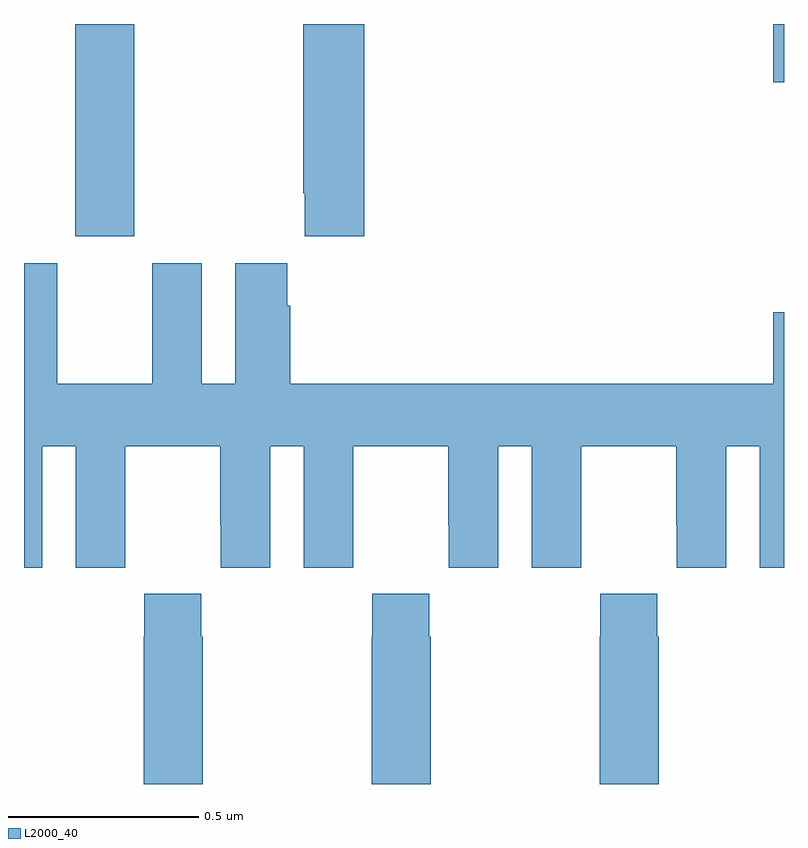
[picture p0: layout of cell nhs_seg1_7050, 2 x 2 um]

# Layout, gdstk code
import gdstk
lib = gdstk.Library(unit=1e-6, precision=1e-09)
def R(c, l, rs):  # rectangles x0, y0, x1, y1
    for r in rs: c.add(gdstk.rectangle(r[:2], r[2:], *l))
def P(c, l, *ps):  # polygons
    for p in ps: c.add(gdstk.Polygon(p, *l))
L2000_40 = (2000, 40)

nhs_seg1_7050 = lib.new_cell('nhs_seg1_7050')
R(nhs_seg1_7050, L2000_40, [(199.135,529.641,199.29,530.199), (200.972,530.046,201,530.199)])
P(nhs_seg1_7050, L2000_40, [(199.895,530.199),(199.735,530.199),(199.735,529.753),(199.739,529.753),(199.739,529.641),(199.895,529.641)],
  [(199.048,529.088),(199.136,529.088),(199.136,528.768),(199.266,528.768),(199.266,528.88),(199.267,528.88),(199.267,529.088),(199.517,529.088),(199.517,528.88),(199.518,528.88),(199.518,528.768),(199.648,528.768),(199.648,529.088),(199.736,529.088),(199.736,528.768),(199.866,528.768),(199.866,528.88),(199.867,528.88),(199.867,529.088),(200.117,529.088),(200.117,528.88),(200.118,528.88),(200.118,528.768),(200.248,528.768),(200.248,529.088),(200.336,529.088),(200.336,528.768),(200.466,528.768),(200.466,528.88),(200.467,528.88),(200.467,529.088),(200.717,529.088),(200.717,528.88),(200.718,528.88),(200.718,528.768),(200.848,528.768),(200.848,529.088),(200.936,529.088),(200.936,528.768),(201,528.768),(201,529.441),(200.972,529.441),(200.972,529.252),(199.7,529.252),(199.7,529.457),(199.693,529.457),(199.693,529.57),(199.556,529.57),(199.556,529.252),(199.468,529.252),(199.468,529.57),(199.337,529.57),(199.337,529.252),(199.087,529.252),(199.087,529.57),(199,529.57),(199,528.768),(199.048,528.768)],
  [(200.67,528.587),(200.667,528.587),(200.667,528.7),(200.517,528.7),(200.517,528.587),(200.515,528.587),(200.515,528.199),(200.67,528.199)],
  [(200.07,528.587),(200.067,528.587),(200.067,528.7),(199.917,528.7),(199.917,528.587),(199.915,528.587),(199.915,528.199),(200.07,528.199)],
  [(199.47,528.587),(199.467,528.587),(199.467,528.7),(199.317,528.7),(199.317,528.587),(199.315,528.587),(199.315,528.199),(199.47,528.199)])

lib.write_gds('nhs_seg1_7050.gds')
